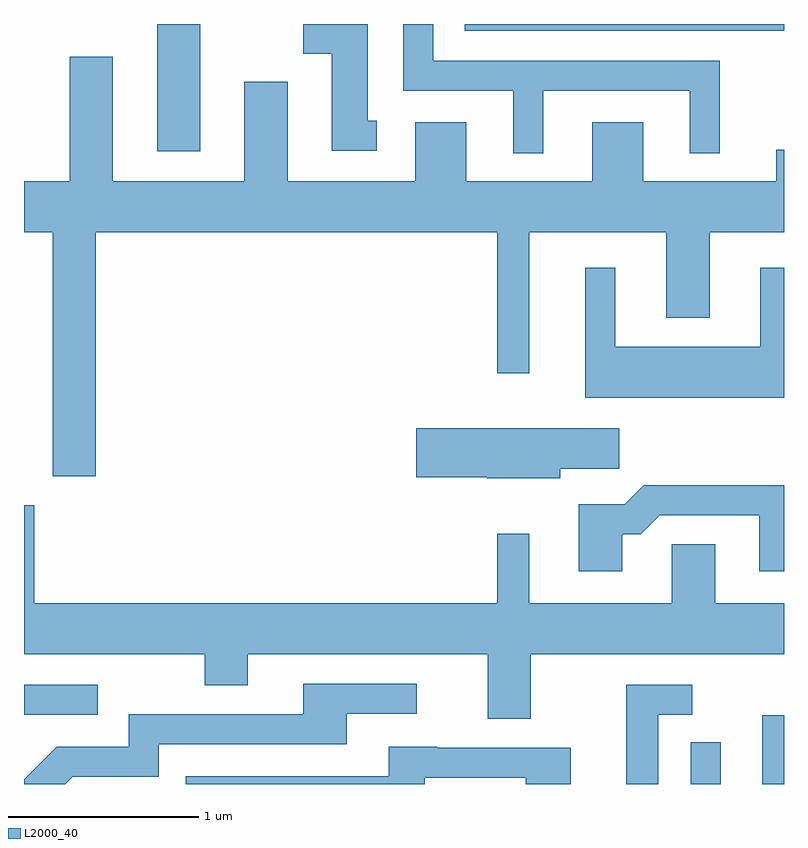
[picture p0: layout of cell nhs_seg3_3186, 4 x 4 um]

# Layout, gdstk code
import gdstk
lib = gdstk.Library(unit=1e-6, precision=1e-09)
def R(c, l, rs):  # rectangles x0, y0, x1, y1
    for r in rs: c.add(gdstk.rectangle(r[:2], r[2:], *l))
def P(c, l, *ps):  # polygons
    for p in ps: c.add(gdstk.Polygon(p, *l))
L2000_40 = (2000, 40)

nhs_seg3_3186 = lib.new_cell('nhs_seg3_3186')
R(nhs_seg3_3186, L2000_40, [(281.121,1231.892,281.279,1232.113), (281.496,1231.892,281.611,1232.254), (277.611,1232.256,277.998,1232.414), (278.311,1235.221,278.539,1235.892), (279.931,1235.856,281.611,1235.892)])
P(nhs_seg3_3186, L2000_40, [(279.468,1235.384),(279.419,1235.384),(279.419,1235.892),(279.081,1235.892),(279.081,1235.736),(279.231,1235.736),(279.231,1235.226),(279.468,1235.226)],
  [(280.344,1235.541),(281.116,1235.541),(281.116,1235.213),(281.274,1235.213),(281.274,1235.699),(279.764,1235.699),(279.764,1235.892),(279.606,1235.892),(279.606,1235.541),(280.186,1235.541),(280.186,1235.213),(280.344,1235.213)],
  [(277.989,1234.796),(280.101,1234.796),(280.101,1234.053),(280.269,1234.053),(280.269,1234.796),(280.991,1234.796),(280.991,1234.346),(281.219,1234.346),(281.219,1234.796),(281.611,1234.796),(281.611,1235.229),(281.571,1235.229),(281.571,1235.064),(280.869,1235.064),(280.869,1235.374),(280.601,1235.374),(280.601,1235.064),(279.939,1235.064),(279.939,1235.374),(279.671,1235.374),(279.671,1235.064),(278.999,1235.064),(278.999,1235.589),(278.771,1235.589),(278.771,1235.064),(278.079,1235.064),(278.079,1235.719),(277.851,1235.719),(277.851,1235.064),(277.611,1235.064),(277.611,1234.796),(277.761,1234.796),(277.761,1233.511),(277.989,1233.511)],
  [(281.611,1234.608),(281.486,1234.608),(281.486,1234.194),(280.724,1234.194),(280.724,1234.608),(280.566,1234.608),(280.566,1233.926),(281.611,1233.926)],
  [(280.434,1233.551),(280.744,1233.551),(280.744,1233.764),(279.676,1233.764),(279.676,1233.506),(280.05,1233.506),(280.05,1233.501),(280.434,1233.501)],
  [(280.759,1233.206),(280.857,1233.206),(280.957,1233.306),(281.481,1233.306),(281.481,1233.011),(281.611,1233.011),(281.611,1233.464),(280.874,1233.464),(280.774,1233.364),(280.531,1233.364),(280.531,1233.011),(280.759,1233.011)],
  [(280.279,1232.576),(281.611,1232.576),(281.611,1232.844),(281.249,1232.844),(281.249,1233.154),(281.021,1233.154),(281.021,1232.844),(280.269,1232.844),(280.269,1233.208),(280.101,1233.208),(280.101,1232.844),(277.664,1232.844),(277.664,1233.359),(277.611,1233.359),(277.611,1232.576),(278.561,1232.576),(278.561,1232.411),(278.789,1232.411),(278.789,1232.576),(280.051,1232.576),(280.051,1232.236),(280.279,1232.236)],
  [(277.867,1231.931),(278.319,1231.931),(278.319,1232.101),(279.309,1232.101),(279.309,1232.261),(279.678,1232.261),(279.678,1232.419),(279.081,1232.419),(279.081,1232.259),(278.161,1232.259),(278.161,1232.089),(277.784,1232.089),(277.611,1231.917),(277.611,1231.892),(277.828,1231.892)],
  [(280.949,1232.256),(281.128,1232.256),(281.128,1232.414),(280.781,1232.414),(280.781,1231.892),(280.949,1231.892)],
  [(279.719,1231.926),(280.251,1231.926),(280.251,1231.892),(280.489,1231.892),(280.489,1232.084),(279.785,1232.084),(279.785,1232.089),(279.531,1232.089),(279.531,1231.934),(278.463,1231.934),(278.463,1231.892),(279.719,1231.892)])

lib.write_gds('nhs_seg3_3186.gds')
